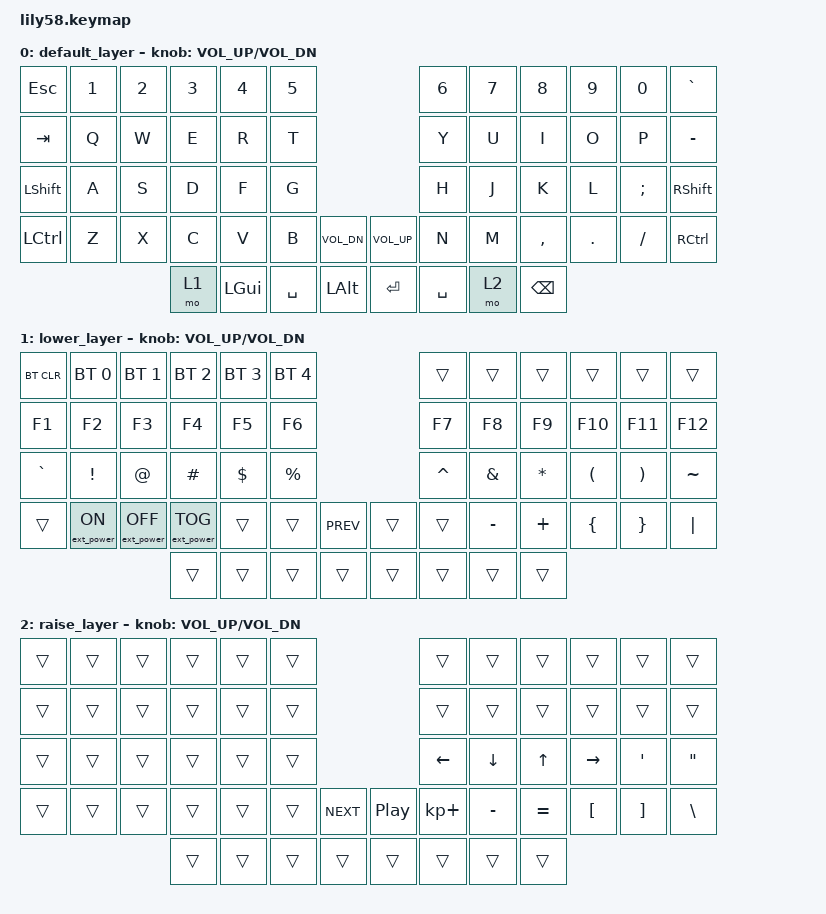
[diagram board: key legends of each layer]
/*
 * Copyright (c) 2020 The ZMK Contributors
 *
 * SPDX-License-Identifier: MIT
 */

#include <behaviors.dtsi>
#include <dt-bindings/zmk/keys.h>
#include <dt-bindings/zmk/bt.h>
#include <dt-bindings/zmk/ext_power.h>

/ {
    keymap {
        compatible = "zmk,keymap";

        default_layer {
// ------------------------------------------------------------------------------------------------------------
// |  ESC  |  1  |  2  |  3   |  4   |  5   |                        |  6   |  7    |  8    |  9   |   0   |   `   |
// |  TAB  |  Q  |  W  |  E   |  R   |  T   |                        |  Y   |  U    |  I    |  O   |   P   |   -   |
// | SHIFT |  A  |  S  |  D   |  F   |  G   |                        |  H   |  J    |  K    |  L   |   ;   | SHIFT |
// | CTRL  |  Z  |  X  |  C   |  V   |  B   | C_VOL_DN |  | C_VOL_UP |  N   |  M    |  ,    |  .   |   /   | CTRL  |
//                     | ALT  | GUI  | SPACE|  LOWER   |  | ENTER    | SPACE| RAISE | BSPC  |
            bindings = <
&kp ESC   &kp N1 &kp N2 &kp N3   &kp N4    &kp N5                                 &kp N6     &kp N7   &kp N8     &kp N9  &kp N0   &kp GRAVE
&kp TAB   &kp Q  &kp W  &kp E    &kp R     &kp T                                  &kp Y      &kp U    &kp I      &kp O   &kp P    &kp MINUS
&kp LSHFT &kp A  &kp S  &kp D    &kp F     &kp G                                  &kp H      &kp J    &kp K      &kp L   &kp SEMI &kp RSHFT
&kp LCTRL &kp Z  &kp X  &kp C    &kp V     &kp B      &kp C_VOL_DN  &kp C_VOL_UP  &kp N      &kp M    &kp COMMA  &kp DOT &kp FSLH &kp RCTRL
                        &mo 1    &kp LGUI  &kp SPACE  &kp LALT      &kp RET       &kp SPACE  &mo 2    &kp BSPC
              >;

            sensor-bindings = <&inc_dec_kp C_VOL_UP C_VOL_DN>;
        };

        lower_layer {
// ------------------------------------------------------------------------------------------------------------
// | BTCLR | BT1   | BT2    |  BT3   |  BT4 |  BT5 |                   |      |       |       |      |       |       |
// |  F1   |  F2   |  F3    |  F4    |  F5  |  F6  |                   |  F7  |  F8   |  F9   |  F10 |  F11  |  F12  |
// |   `   |  !    |  @     |  #     |  $   |  %   |                   |  ^   |  &    |  *    |  (   |   )   |   ~   |
// |       | EP_ON | EP_OFF | EP_TOG |      |      | C_PREV |  |       |      |  _    |  +    |  {   |   }   |  "|"  |
//                          |        |      |      |        |  |       |      |       |       |
            bindings = <
&bt BT_CLR  &bt BT_SEL 0     &bt BT_SEL 1      &bt BT_SEL 2      &bt BT_SEL 3 &bt BT_SEL 4                    &trans    &trans    &trans    &trans    &trans    &trans
&kp F1      &kp F2           &kp F3            &kp F4            &kp F5       &kp F6                          &kp F7    &kp F8    &kp F9    &kp F10   &kp F11   &kp F12
&kp GRAVE   &kp EXCL         &kp AT            &kp HASH          &kp DOLLAR   &kp PRCNT                       &kp CARET &kp AMPS  &kp ASTRK &kp LPAR  &kp RPAR  &kp TILDE
&trans      &ext_power EP_ON &ext_power EP_OFF &ext_power EP_TOG &trans       &trans    &kp C_PREV   &trans   &trans    &kp MINUS &kp PLUS  &kp LBRC  &kp RBRC  &kp PIPE
                                               &trans            &trans       &trans    &trans       &trans   &trans    &trans    &trans
            >;

            sensor-bindings = <&inc_dec_kp C_VOL_UP C_VOL_DN>;
        };

        raise_layer {
// ------------------------------------------------------------------------------------------------------------
// |      |     |     |      |      |      |                   |      |       |       |      |       |       |
// |      |     |     |      |      |      |                   |      |       |       |      |       |       |
// |      |     |     |      |      |      |                   |  <-  |   v   |   ^   |  ->  |   '   |   "   |
// |      |     |     |      |      |      | C_NEXT |  | C_PP  |  +   |   -   |   =   |  [   |   ]   |   \   |
//                    |      |      |      |        |  |       |      |       |       |
            bindings = <
&trans    &trans &trans &trans  &trans  &trans                        &trans       &trans      &trans     &trans     &trans    &trans
&trans    &trans &trans &trans  &trans  &trans                        &trans       &trans      &trans     &trans     &trans    &trans
&trans    &trans &trans &trans  &trans  &trans                        &kp LEFT     &kp DOWN    &kp UP     &kp RIGHT  &kp SQT   &kp DQT
&trans    &trans &trans &trans  &trans  &trans  &kp C_NEXT  &kp C_PP  &kp KP_PLUS  &kp MINUS   &kp EQUAL  &kp LBKT   &kp RBKT  &kp BSLH
                        &trans  &trans  &trans  &trans      &trans    &trans       &trans      &trans
            >;

            sensor-bindings = <&inc_dec_kp C_VOL_UP C_VOL_DN>;
        };
    };
};
